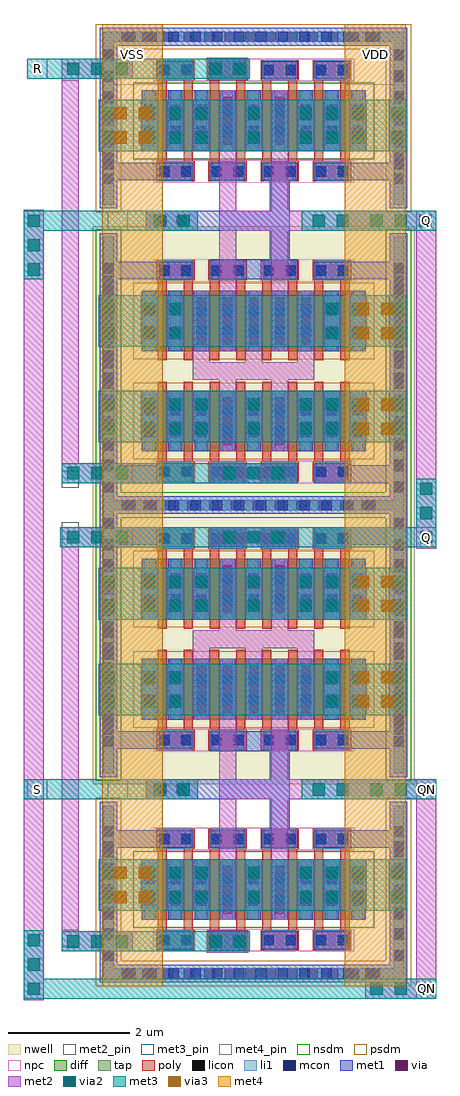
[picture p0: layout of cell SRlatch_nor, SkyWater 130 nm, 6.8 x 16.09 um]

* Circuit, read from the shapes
.subckt SRlatch_nor Q QN R S VDD VSS
XM1 VSS VSS VSS VSS sky130_fd_pr__nfet_01v8 w=1 l=0.15 m=8
XM2 QN Q VSS VSS sky130_fd_pr__nfet_01v8 w=1 l=0.15 m=2
XM3 Q R VSS VSS sky130_fd_pr__nfet_01v8 w=1 l=0.15 m=2
XM4 QN S VSS VSS sky130_fd_pr__nfet_01v8 w=1 l=0.15 m=2
XM5 Q QN VSS VSS sky130_fd_pr__nfet_01v8 w=1 l=0.15 m=2
XM6 VDD VDD VDD VDD sky130_fd_pr__pfet_01v8 w=1 l=0.15 m=12
XM7 n1 VDD VDD VDD sky130_fd_pr__pfet_01v8 w=1 l=0.15 m=2
XM8 n2 VDD VDD VDD sky130_fd_pr__pfet_01v8 w=1 l=0.15 m=2
XM9 QN S n1 VDD sky130_fd_pr__pfet_01v8 w=1 l=0.15 m=4
XM10 n1 Q VDD VDD sky130_fd_pr__pfet_01v8 w=1 l=0.15 m=4
XM11 n2 R VDD VDD sky130_fd_pr__pfet_01v8 w=1 l=0.15 m=4
XM12 Q QN n2 VDD sky130_fd_pr__pfet_01v8 w=1 l=0.15 m=4
.ends

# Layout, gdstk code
import gdstk
lib = gdstk.Library(unit=1e-6, precision=1e-09)
def R(c, l, rs):  # rectangles x0, y0, x1, y1
    for r in rs: c.add(gdstk.rectangle(r[:2], r[2:], *l))
def A(c, l, x, y, w, h, nx, ny, dx, dy):  # array of equal rectangles
    R(c, l, [(x+i*dx, y+j*dy, x+i*dx+w, y+j*dy+h) for i in range(nx) for j in range(ny)])
nwell = (64, 20)
diff = (65, 20)
tap = (65, 44)
poly = (66, 20)
licon = (66, 44)
li1 = (67, 20)
mcon = (67, 44)
met1 = (68, 20)
via = (68, 44)
met2_pin = (69, 16)
met2 = (69, 20)
via2 = (69, 44)
met3_pin = (70, 16)
met3 = (70, 20)
via3 = (70, 44)
met4_pin = (71, 16)
met4 = (71, 20)
nsdm = (93, 44)
psdm = (94, 20)
npc = (95, 20)

pfet_01v8_cdns_713557510 = lib.new_cell('pfet_01v8_CDNS_713557510321')
R(pfet_01v8_cdns_713557510, nwell, [(-0.235,-0.18,1.025,1.18)])
R(pfet_01v8_cdns_713557510, diff, [(-0.055,0,0,1), (0,0,0.15,1), (0.15,0,0.43,1), (0.43,0,0.58,1), (0.58,0,0.845,1)])
R(pfet_01v8_cdns_713557510, poly, [(0,-0.15,0.15,-0.095), (0.43,-0.15,0.58,-0.095), (0,-0.095,0.15,0), (0.43,-0.095,0.58,0), (0,0,0.15,1), (0.43,0,0.58,1), (0,1,0.15,1.095), (0.43,1,0.58,1.095), (0,1.095,0.15,1.15), (0.43,1.095,0.58,1.15)])
R(pfet_01v8_cdns_713557510, licon, [(0.205,0.245,0.375,0.415), (0.635,0.245,0.805,0.415), (0.205,0.585,0.375,0.755), (0.635,0.585,0.805,0.755)])
R(pfet_01v8_cdns_713557510, li1, [(0.205,0,0.375,1), (0.635,0,0.805,1)])
R(pfet_01v8_cdns_713557510, mcon, [(0.205,0.235,0.375,0.405), (0.635,0.235,0.805,0.405), (0.205,0.595,0.375,0.765), (0.635,0.595,0.805,0.765)])
R(pfet_01v8_cdns_713557510, met1, [(0.175,0,0.405,1), (0.605,0,0.835,1)])
R(pfet_01v8_cdns_713557510, psdm, [(-0.065,-0.13,0.985,1.13)])

c_pfet_01v8_cdns_713557510 = lib.new_cell('pfet_01v8_CDNS_713557510322')
R(c_pfet_01v8_cdns_713557510, nwell, [(-0.235,-0.18,0.595,1.18)])
R(c_pfet_01v8_cdns_713557510, diff, [(-0.055,0,0,1), (0,0,0.15,1), (0.15,0,0.415,1)])
R(c_pfet_01v8_cdns_713557510, poly, [(0,-0.15,0.15,-0.095), (0,-0.095,0.15,0), (0,0,0.15,1), (0,1,0.15,1.095), (0,1.095,0.15,1.15)])
R(c_pfet_01v8_cdns_713557510, licon, [(0.205,0.245,0.375,0.415), (0.205,0.585,0.375,0.755)])
R(c_pfet_01v8_cdns_713557510, li1, [(0.205,0,0.375,1)])
R(c_pfet_01v8_cdns_713557510, mcon, [(0.205,0.235,0.375,0.405), (0.205,0.595,0.375,0.765)])
R(c_pfet_01v8_cdns_713557510, met1, [(0.175,0,0.405,1)])
R(c_pfet_01v8_cdns_713557510, psdm, [(-0.065,-0.13,0.555,1.13)])

nfet_01v8_cdns_713557510 = lib.new_cell('nfet_01v8_CDNS_713557510323')
R(nfet_01v8_cdns_713557510, diff, [(-0.265,0,0,1), (0,0,0.15,1), (0.15,0,0.43,1), (0.43,0,0.58,1), (0.58,0,0.805,1)])
R(nfet_01v8_cdns_713557510, poly, [(0,-0.15,0.15,-0.095), (0.43,-0.15,0.58,-0.095), (0,-0.095,0.15,0), (0.43,-0.095,0.58,0), (0,0,0.15,1), (0.43,0,0.58,1), (0,1,0.15,1.095), (0.43,1,0.58,1.095), (0,1.095,0.15,1.15), (0.43,1.095,0.58,1.15)])
A(nfet_01v8_cdns_713557510, licon, -0.225, 0.245, 0.17, 0.17, 3, 2, 0.43, 0.34)
A(nfet_01v8_cdns_713557510, li1, -0.225, 0, 0.17, 1, 3, 1, 0.43, 0)
A(nfet_01v8_cdns_713557510, mcon, -0.225, 0.235, 0.17, 0.17, 3, 2, 0.43, 0.36)
A(nfet_01v8_cdns_713557510, met1, -0.255, 0, 0.23, 1, 3, 1, 0.43, 0)
R(nfet_01v8_cdns_713557510, nsdm, [(-0.405,-0.13,0.815,1.13)])

c_pfet_01v8_cdns_713557510_ = lib.new_cell('pfet_01v8_CDNS_713557510324')
R(c_pfet_01v8_cdns_713557510_, nwell, [(-0.405,-0.18,1.845,1.18)])
A(c_pfet_01v8_cdns_713557510_, diff, 0, 0, 0.15, 1, 4, 1, 0.43, 0)
A(c_pfet_01v8_cdns_713557510_, diff, 0.15, 0, 0.28, 1, 3, 1, 0.43, 0)
R(c_pfet_01v8_cdns_713557510_, diff, [(-0.225,0,0,1), (1.44,0,1.665,1)])
A(c_pfet_01v8_cdns_713557510_, poly, 0, -0.15, 0.15, 0.055, 4, 2, 0.43, 1.245)
A(c_pfet_01v8_cdns_713557510_, poly, 0, -0.095, 0.15, 0.095, 4, 2, 0.43, 1.095)
A(c_pfet_01v8_cdns_713557510_, poly, 0, 0, 0.15, 1, 4, 1, 0.43, 0)
A(c_pfet_01v8_cdns_713557510_, licon, -0.225, 0.245, 0.17, 0.17, 5, 2, 0.43, 0.34)
A(c_pfet_01v8_cdns_713557510_, li1, -0.225, 0, 0.17, 1, 5, 1, 0.43, 0)
A(c_pfet_01v8_cdns_713557510_, mcon, -0.225, 0.235, 0.17, 0.17, 5, 2, 0.43, 0.36)
A(c_pfet_01v8_cdns_713557510_, met1, -0.255, 0, 0.23, 1, 5, 1, 0.43, 0)
R(c_pfet_01v8_cdns_713557510_, psdm, [(-0.235,-0.13,1.675,1.13)])

c_pfet_01v8_cdns_713557510__ = lib.new_cell('pfet_01v8_CDNS_713557510325')
R(c_pfet_01v8_cdns_713557510__, nwell, [(-0.445,-0.18,0.385,1.18)])
R(c_pfet_01v8_cdns_713557510__, diff, [(-0.265,0,0,1), (0,0,0.15,1), (0.15,0,0.205,1)])
R(c_pfet_01v8_cdns_713557510__, poly, [(0,-0.15,0.15,-0.095), (0,-0.095,0.15,0), (0,0,0.15,1), (0,1,0.15,1.095), (0,1.095,0.15,1.15)])
R(c_pfet_01v8_cdns_713557510__, licon, [(-0.225,0.245,-0.055,0.415), (-0.225,0.585,-0.055,0.755)])
R(c_pfet_01v8_cdns_713557510__, li1, [(-0.225,0,-0.055,1)])
R(c_pfet_01v8_cdns_713557510__, mcon, [(-0.225,0.235,-0.055,0.405), (-0.225,0.595,-0.055,0.765)])
R(c_pfet_01v8_cdns_713557510__, met1, [(-0.255,0,-0.025,1)])
R(c_pfet_01v8_cdns_713557510__, psdm, [(-0.405,-0.13,0.215,1.13)])

c_pfet_01v8_cdns_713557510___ = lib.new_cell('pfet_01v8_CDNS_713557510326')
R(c_pfet_01v8_cdns_713557510___, nwell, [(-0.445,-0.18,0.815,1.18)])
R(c_pfet_01v8_cdns_713557510___, diff, [(-0.265,0,0,1), (0,0,0.15,1), (0.15,0,0.43,1), (0.43,0,0.58,1), (0.58,0,0.635,1)])
R(c_pfet_01v8_cdns_713557510___, poly, [(0,-0.15,0.15,-0.095), (0.43,-0.15,0.58,-0.095), (0,-0.095,0.15,0), (0.43,-0.095,0.58,0), (0,0,0.15,1), (0.43,0,0.58,1), (0,1,0.15,1.095), (0.43,1,0.58,1.095), (0,1.095,0.15,1.15), (0.43,1.095,0.58,1.15)])
R(c_pfet_01v8_cdns_713557510___, licon, [(-0.225,0.245,-0.055,0.415), (0.205,0.245,0.375,0.415), (-0.225,0.585,-0.055,0.755), (0.205,0.585,0.375,0.755)])
R(c_pfet_01v8_cdns_713557510___, li1, [(-0.225,0,-0.055,1), (0.205,0,0.375,1)])
R(c_pfet_01v8_cdns_713557510___, mcon, [(-0.225,0.235,-0.055,0.405), (0.205,0.235,0.375,0.405), (-0.225,0.595,-0.055,0.765), (0.205,0.595,0.375,0.765)])
R(c_pfet_01v8_cdns_713557510___, met1, [(-0.255,0,-0.025,1), (0.175,0,0.405,1)])
R(c_pfet_01v8_cdns_713557510___, psdm, [(-0.405,-0.13,0.645,1.13)])

c_pfet_01v8_cdns_713557510____ = lib.new_cell('pfet_01v8_CDNS_713557510327')
R(c_pfet_01v8_cdns_713557510____, nwell, [(-0.405,-0.18,0.385,1.18)])
R(c_pfet_01v8_cdns_713557510____, diff, [(-0.225,0,0,1), (0,0,0.15,1), (0.15,0,0.205,1)])
R(c_pfet_01v8_cdns_713557510____, poly, [(0,-0.15,0.15,-0.095), (0,-0.095,0.15,0), (0,0,0.15,1), (0,1,0.15,1.095), (0,1.095,0.15,1.15)])
R(c_pfet_01v8_cdns_713557510____, licon, [(-0.225,0.245,-0.055,0.415), (-0.225,0.585,-0.055,0.755)])
R(c_pfet_01v8_cdns_713557510____, li1, [(-0.225,0,-0.055,1)])
R(c_pfet_01v8_cdns_713557510____, mcon, [(-0.225,0.235,-0.055,0.405), (-0.225,0.595,-0.055,0.765)])
R(c_pfet_01v8_cdns_713557510____, met1, [(-0.255,0,-0.025,1)])
R(c_pfet_01v8_cdns_713557510____, psdm, [(-0.235,-0.13,0.215,1.13)])

c_nfet_01v8_cdns_713557510 = lib.new_cell('nfet_01v8_CDNS_713557510328')
R(c_nfet_01v8_cdns_713557510, diff, [(-0.225,0,0,1), (0,0,0.15,1), (0.15,0,0.43,1), (0.43,0,0.58,1), (0.58,0,0.805,1)])
R(c_nfet_01v8_cdns_713557510, poly, [(0,-0.15,0.15,-0.095), (0.43,-0.15,0.58,-0.095), (0,-0.095,0.15,0), (0.43,-0.095,0.58,0), (0,0,0.15,1), (0.43,0,0.58,1), (0,1,0.15,1.095), (0.43,1,0.58,1.095), (0,1.095,0.15,1.15), (0.43,1.095,0.58,1.15)])
A(c_nfet_01v8_cdns_713557510, licon, -0.225, 0.245, 0.17, 0.17, 3, 2, 0.43, 0.34)
A(c_nfet_01v8_cdns_713557510, li1, -0.225, 0, 0.17, 1, 3, 1, 0.43, 0)
A(c_nfet_01v8_cdns_713557510, mcon, -0.225, 0.235, 0.17, 0.17, 3, 2, 0.43, 0.36)
A(c_nfet_01v8_cdns_713557510, met1, -0.255, 0, 0.23, 1, 3, 1, 0.43, 0)
R(c_nfet_01v8_cdns_713557510, nsdm, [(-0.235,-0.13,0.815,1.13)])

c_pfet_01v8_cdns_713557510_____ = lib.new_cell('pfet_01v8_CDNS_713557510329')
R(c_pfet_01v8_cdns_713557510_____, nwell, [(-0.235,-0.18,0.555,1.18)])
R(c_pfet_01v8_cdns_713557510_____, diff, [(-0.055,0,0,1), (0,0,0.15,1), (0.15,0,0.375,1)])
R(c_pfet_01v8_cdns_713557510_____, poly, [(0,-0.15,0.15,-0.095), (0,-0.095,0.15,0), (0,0,0.15,1), (0,1,0.15,1.095), (0,1.095,0.15,1.15)])
R(c_pfet_01v8_cdns_713557510_____, licon, [(0.205,0.245,0.375,0.415), (0.205,0.585,0.375,0.755)])
R(c_pfet_01v8_cdns_713557510_____, li1, [(0.205,0,0.375,1)])
R(c_pfet_01v8_cdns_713557510_____, mcon, [(0.205,0.235,0.375,0.405), (0.205,0.595,0.375,0.765)])
R(c_pfet_01v8_cdns_713557510_____, met1, [(0.175,0,0.405,1)])
R(c_pfet_01v8_cdns_713557510_____, psdm, [(-0.065,-0.13,0.385,1.13)])

c_nfet_01v8_cdns_713557510_ = lib.new_cell('nfet_01v8_CDNS_7135575103210')
R(c_nfet_01v8_cdns_713557510_, diff, [(-0.055,0,0,1), (0,0,0.15,1), (0.15,0,0.43,1), (0.43,0,0.58,1), (0.58,0,0.845,1)])
R(c_nfet_01v8_cdns_713557510_, poly, [(0,-0.15,0.15,-0.095), (0.43,-0.15,0.58,-0.095), (0,-0.095,0.15,0), (0.43,-0.095,0.58,0), (0,0,0.15,1), (0.43,0,0.58,1), (0,1,0.15,1.095), (0.43,1,0.58,1.095), (0,1.095,0.15,1.15), (0.43,1.095,0.58,1.15)])
R(c_nfet_01v8_cdns_713557510_, licon, [(0.205,0.245,0.375,0.415), (0.635,0.245,0.805,0.415), (0.205,0.585,0.375,0.755), (0.635,0.585,0.805,0.755)])
R(c_nfet_01v8_cdns_713557510_, li1, [(0.205,0,0.375,1), (0.635,0,0.805,1)])
R(c_nfet_01v8_cdns_713557510_, mcon, [(0.205,0.235,0.375,0.405), (0.635,0.235,0.805,0.405), (0.205,0.595,0.375,0.765), (0.635,0.595,0.805,0.765)])
R(c_nfet_01v8_cdns_713557510_, met1, [(0.175,0,0.405,1), (0.605,0,0.835,1)])
R(c_nfet_01v8_cdns_713557510_, nsdm, [(-0.065,-0.13,0.985,1.13)])

c_nfet_01v8_cdns_713557510__ = lib.new_cell('nfet_01v8_CDNS_7135575103211')
R(c_nfet_01v8_cdns_713557510__, diff, [(-0.055,0,0,1), (0,0,0.15,1), (0.15,0,0.43,1), (0.43,0,0.58,1), (0.58,0,0.635,1)])
R(c_nfet_01v8_cdns_713557510__, poly, [(0,-0.15,0.15,-0.095), (0.43,-0.15,0.58,-0.095), (0,-0.095,0.15,0), (0.43,-0.095,0.58,0), (0,0,0.15,1), (0.43,0,0.58,1), (0,1,0.15,1.095), (0.43,1,0.58,1.095), (0,1.095,0.15,1.15), (0.43,1.095,0.58,1.15)])
R(c_nfet_01v8_cdns_713557510__, licon, [(0.205,0.245,0.375,0.415), (0.205,0.585,0.375,0.755)])
R(c_nfet_01v8_cdns_713557510__, li1, [(0.205,0,0.375,1)])
R(c_nfet_01v8_cdns_713557510__, mcon, [(0.205,0.235,0.375,0.405), (0.205,0.595,0.375,0.765)])
R(c_nfet_01v8_cdns_713557510__, met1, [(0.175,0,0.405,1)])
R(c_nfet_01v8_cdns_713557510__, nsdm, [(-0.065,-0.13,0.645,1.13)])

polyconn_cdns_7135575103 = lib.new_cell('polyConn_CDNS_713557510320')
R(polyconn_cdns_7135575103, poly, [(-0.315,-0.165,0.315,0.165)])
R(polyconn_cdns_7135575103, licon, [(-0.265,-0.085,-0.095,0.085), (0.095,-0.085,0.265,0.085)])
R(polyconn_cdns_7135575103, li1, [(-0.265,-0.165,0.265,0.165)])
R(polyconn_cdns_7135575103, mcon, [(-0.265,-0.085,-0.095,0.085), (0.095,-0.085,0.265,0.085)])
R(polyconn_cdns_7135575103, met1, [(-0.295,-0.145,0.295,0.145)])
R(polyconn_cdns_7135575103, npc, [(-0.365,-0.185,0.365,0.185)])

m1m2_c_cdns_713557510324 = lib.new_cell('M1M2_C_CDNS_7135575103244')
R(m1m2_c_cdns_713557510324, met1, [(-0.13,-0.5,0.13,0.5)])
A(m1m2_c_cdns_713557510324, via, -0.075, -0.395, 0.15, 0.15, 1, 3, 0, 0.32)
R(m1m2_c_cdns_713557510324, met2, [(-0.13,-0.5,0.13,0.5)])

m2m3_c_cdns_713557510324 = lib.new_cell('M2M3_C_CDNS_7135575103245')
R(m2m3_c_cdns_713557510324, met2, [(-0.48,-0.165,0.48,0.165)])
R(m2m3_c_cdns_713557510324, via2, [(-0.3,-0.1,-0.1,0.1), (0.1,-0.1,0.3,0.1)])
R(m2m3_c_cdns_713557510324, met3, [(-0.48,-0.165,0.48,0.165)])

c_m1m2_c_cdns_713557510324 = lib.new_cell('M1M2_C_CDNS_7135575103246')
R(c_m1m2_c_cdns_713557510324, met1, [(-0.725,-0.165,0.725,0.165)])
A(c_m1m2_c_cdns_713557510324, via, -0.555, -0.075, 0.15, 0.15, 4, 1, 0.32, 0)
R(c_m1m2_c_cdns_713557510324, met2, [(-0.725,-0.165,0.725,0.165)])

c_m2m3_c_cdns_713557510324 = lib.new_cell('M2M3_C_CDNS_7135575103247')
R(c_m2m3_c_cdns_713557510324, met2, [(-0.725,-0.165,0.725,0.165)])
A(c_m2m3_c_cdns_713557510324, via2, -0.5, -0.1, 0.2, 0.2, 3, 1, 0.4, 0)
R(c_m2m3_c_cdns_713557510324, met3, [(-0.725,-0.165,0.725,0.165)])

c_m1m2_c_cdns_713557510324_ = lib.new_cell('M1M2_C_CDNS_7135575103248')
R(c_m1m2_c_cdns_713557510324_, met1, [(-0.295,-0.165,0.295,0.165)])
R(c_m1m2_c_cdns_713557510324_, via, [(-0.235,-0.075,-0.085,0.075), (0.085,-0.075,0.235,0.075)])
R(c_m1m2_c_cdns_713557510324_, met2, [(-0.34,-0.185,0.34,0.185)])

c_m2m3_c_cdns_713557510324_ = lib.new_cell('M2M3_C_CDNS_7135575103249')
R(c_m2m3_c_cdns_713557510324_, met2, [(-0.34,-0.185,0.34,0.185)])
R(c_m2m3_c_cdns_713557510324_, via2, [(-0.3,-0.1,-0.1,0.1), (0.1,-0.1,0.3,0.1)])
R(c_m2m3_c_cdns_713557510324_, met3, [(-0.365,-0.165,0.365,0.165)])

m1m2_c_cdns_713557510325 = lib.new_cell('M1M2_C_CDNS_7135575103250')
R(m1m2_c_cdns_713557510325, met1, [(-0.43,-0.165,0.43,0.165)])
R(m1m2_c_cdns_713557510325, via, [(-0.235,-0.075,-0.085,0.075), (0.085,-0.075,0.235,0.075)])
R(m1m2_c_cdns_713557510325, met2, [(-0.43,-0.165,0.43,0.165)])

m2m3_c_cdns_713557510325 = lib.new_cell('M2M3_C_CDNS_713557510325')
R(m2m3_c_cdns_713557510325, met2, [(-0.43,-0.165,0.43,0.165)])
R(m2m3_c_cdns_713557510325, via2, [(-0.3,-0.1,-0.1,0.1), (0.1,-0.1,0.3,0.1)])
R(m2m3_c_cdns_713557510325, met3, [(-0.43,-0.165,0.43,0.165)])

c_m2m3_c_cdns_713557510325 = lib.new_cell('M2M3_C_CDNS_7135575103251')
R(c_m2m3_c_cdns_713557510325, met2, [(-0.14,-0.165,1.03,0.165)])
A(c_m2m3_c_cdns_713557510325, via2, -0.055, -0.1, 0.2, 0.2, 3, 1, 0.4, 0)
R(c_m2m3_c_cdns_713557510325, met3, [(-0.14,-0.165,1.01,0.165)])

c_m1m2_c_cdns_713557510325 = lib.new_cell('M1M2_C_CDNS_7135575103252')
R(c_m1m2_c_cdns_713557510325, met1, [(-0.13,-0.425,0.13,0.425)])
R(c_m1m2_c_cdns_713557510325, via, [(-0.075,-0.235,0.075,-0.085), (-0.075,0.085,0.075,0.235)])
R(c_m1m2_c_cdns_713557510325, met2, [(-0.14,-0.425,0.14,0.425)])

c_m2m3_c_cdns_713557510325_ = lib.new_cell('M2M3_C_CDNS_7135575103253')
R(c_m2m3_c_cdns_713557510325_, met2, [(-0.155,-0.425,0.145,0.425)])
R(c_m2m3_c_cdns_713557510325_, via2, [(-0.12,-0.3,0.08,-0.1), (-0.12,0.1,0.08,0.3)])
R(c_m2m3_c_cdns_713557510325_, met3, [(-0.185,-0.425,0.145,0.425)])

c_m2m3_c_cdns_713557510325__ = lib.new_cell('M2M3_C_CDNS_7135575103254')
R(c_m2m3_c_cdns_713557510325__, met2, [(-0.145,-0.425,0.145,0.425)])
R(c_m2m3_c_cdns_713557510325__, via2, [(-0.1,-0.3,0.1,-0.1), (-0.1,0.1,0.1,0.3)])
R(c_m2m3_c_cdns_713557510325__, met3, [(-0.165,-0.425,0.165,0.425)])

c_m1m2_c_cdns_713557510325_ = lib.new_cell('M1M2_C_CDNS_7135575103255')
R(c_m1m2_c_cdns_713557510325_, met1, [(-0.145,-0.425,0.145,0.425)])
R(c_m1m2_c_cdns_713557510325_, via, [(-0.095,-0.235,0.055,-0.085), (-0.095,0.085,0.055,0.235)])
R(c_m1m2_c_cdns_713557510325_, met2, [(-0.16,-0.425,0.14,0.425)])

c_m1m2_c_cdns_713557510325__ = lib.new_cell('M1M2_C_CDNS_7135575103256')
R(c_m1m2_c_cdns_713557510325__, met1, [(-0.145,-0.425,0.145,0.425)])
R(c_m1m2_c_cdns_713557510325__, via, [(-0.075,-0.235,0.075,-0.085), (-0.075,0.085,0.075,0.235)])
R(c_m1m2_c_cdns_713557510325__, met2, [(-0.145,-0.425,0.145,0.425)])

c_m2m3_c_cdns_713557510325___ = lib.new_cell('M2M3_C_CDNS_7135575103257')
R(c_m2m3_c_cdns_713557510325___, met2, [(-0.14,-0.425,0.14,0.425)])
R(c_m2m3_c_cdns_713557510325___, via2, [(-0.1,-0.3,0.1,-0.1), (-0.1,0.1,0.1,0.3)])
R(c_m2m3_c_cdns_713557510325___, met3, [(-0.165,-0.425,0.165,0.425)])

nor = lib.new_cell('nor')
R(nor, nwell, [(0.505,3.33,5.815,8.195)])
A(nor, poly, 1.58, 0.595, 0.15, 0.5, 8, 2, 0.43, 1.5)
A(nor, poly, 1.58, 3.895, 0.15, 0.5, 8, 2, 0.43, 3.15)
A(nor, licon, 0.985, 0.125, 0.17, 0.17, 13, 1, 0.34, 0)
A(nor, licon, 0.685, 0.425, 0.17, 0.17, 1, 7, 0, 0.34)
A(nor, licon, 5.465, 0.425, 0.17, 0.17, 1, 7, 0, 0.34)
A(nor, licon, 0.685, 4.145, 0.17, 0.17, 1, 11, 0, 0.34)
A(nor, licon, 5.465, 4.145, 0.17, 0.17, 1, 11, 0, 0.34)
A(nor, licon, 0.985, 7.845, 0.17, 0.17, 12, 1, 0.36, 0)
A(nor, mcon, 1.035, 0.125, 0.17, 0.17, 12, 2, 0.36, 7.72)
A(nor, mcon, 0.685, 0.425, 0.17, 0.17, 1, 6, 0, 0.36)
A(nor, mcon, 5.465, 0.425, 0.17, 0.17, 1, 6, 0, 0.36)
A(nor, mcon, 0.685, 3.945, 0.17, 0.17, 1, 11, 0, 0.36)
A(nor, mcon, 5.465, 3.945, 0.17, 0.17, 1, 11, 0, 0.36)
R(nor, met1, [(5.4,1.245,5.695,2.095), (0.77,2.285,2.165,2.575), (4.155,2.285,5.55,2.575), (0.77,3.915,2.165,4.205), (4.155,3.915,5.55,4.205), (5.4,4.47,5.695,5.32), (5.4,6.045,5.695,6.895), (0.77,7.275,2.165,7.565), (4.155,7.275,5.55,7.565)])
R(nor, met2_pin, [(0,0.655,0.28,0.935), (0,7.365,0.28,7.645)])
R(nor, met2, [(5.39,1.245,5.695,2.095), (5.39,4.47,5.695,5.32), (5.39,6.045,5.695,6.895)])
R(nor, met3_pin, [(0.605,1.245,1.455,2.095), (0.755,3.08,1.085,3.41), (5.22,3.08,5.55,3.41), (0.605,6.045,1.455,6.895)])
R(nor, npc, [(1.505,0.575,4.815,0.945), (1.505,2.245,4.815,2.615), (1.505,3.875,4.815,4.245), (1.505,7.195,4.815,7.565)])
nor.add(gdstk.FlexPath([(5.55,8.14),(5.55,3.385)], 0.42, ends="flush", simple_path=True, layer=93, datatype=44))  # nsdm
nor.add(gdstk.FlexPath([(0.77,8.14),(0.77,3.385)], 0.42, ends="flush", simple_path=True, layer=93, datatype=44))  # nsdm
nor.add(gdstk.FlexPath([(0.56,7.93),(5.76,7.93)], 0.42, ends="flush", simple_path=True, layer=93, datatype=44))  # nsdm
nor.add(gdstk.FlexPath([(5.55,8.195),(5.55,3.33)], 0.53, ends="flush", simple_path=True, layer=64, datatype=20))  # nwell
nor.add(gdstk.FlexPath([(0.77,8.195),(0.77,3.33)], 0.53, ends="flush", simple_path=True, layer=64, datatype=20))  # nwell
nor.add(gdstk.FlexPath([(0.505,7.93),(5.815,7.93)], 0.53, ends="flush", simple_path=True, layer=64, datatype=20))  # nwell
nor.add(gdstk.FlexPath([(5.55,0),(5.55,3.105)], 0.42, ends="flush", simple_path=True, layer=94, datatype=20))  # psdm
nor.add(gdstk.FlexPath([(0.56,0.21),(5.76,0.21)], 0.42, ends="flush", simple_path=True, layer=94, datatype=20))  # psdm
nor.add(gdstk.FlexPath([(0.77,0),(0.77,3.105)], 0.42, ends="flush", simple_path=True, layer=94, datatype=20))  # psdm
nor.add(gdstk.FlexPath([(5.55,0.125),(5.55,2.98)], 0.17, ends="flush", simple_path=True, layer=67, datatype=20))  # li1
nor.add(gdstk.FlexPath([(0.77,0.125),(0.77,2.98)], 0.17, ends="flush", simple_path=True, layer=67, datatype=20))  # li1
nor.add(gdstk.FlexPath([(5.55,8.015),(5.55,3.51)], 0.17, ends="flush", simple_path=True, layer=67, datatype=20))  # li1
nor.add(gdstk.FlexPath([(0.77,8.015),(0.77,3.51)], 0.17, ends="flush", simple_path=True, layer=67, datatype=20))  # li1
nor.add(gdstk.FlexPath([(0.685,0.21),(5.635,0.21)], 0.17, ends="flush", simple_path=True, layer=67, datatype=20))  # li1
nor.add(gdstk.FlexPath([(0.685,7.93),(5.635,7.93)], 0.17, ends="flush", simple_path=True, layer=67, datatype=20))  # li1
nor.add(gdstk.FlexPath([(5.55,8.015),(5.55,3.51)], 0.17, ends="flush", simple_path=True, layer=65, datatype=44))  # tap
nor.add(gdstk.FlexPath([(0.77,8.015),(0.77,3.51)], 0.17, ends="flush", simple_path=True, layer=65, datatype=44))  # tap
nor.add(gdstk.FlexPath([(0.685,7.93),(5.635,7.93)], 0.17, ends="flush", simple_path=True, layer=65, datatype=44))  # tap
nor.add(gdstk.FlexPath([(5.55,0.125),(5.55,2.98)], 0.17, ends="flush", simple_path=True, layer=65, datatype=44))  # tap
nor.add(gdstk.FlexPath([(0.685,0.21),(5.635,0.21)], 0.17, ends="flush", simple_path=True, layer=65, datatype=44))  # tap
nor.add(gdstk.FlexPath([(0.77,0.125),(0.77,2.98)], 0.17, ends="flush", simple_path=True, layer=65, datatype=44))  # tap
nor.add(gdstk.FlexPath([(3.885,7.4),(2.435,7.4)], 0.33, ends="flush", simple_path=True, layer=68, datatype=20))  # met1
nor.add(gdstk.FlexPath([(3.025,0.74),(2.435,0.74)], 0.33, ends="flush", simple_path=True, layer=68, datatype=20))  # met1
nor.add(gdstk.FlexPath([(5.55,0.065),(5.55,3.04)], 0.29, ends="flush", simple_path=True, layer=68, datatype=20))  # met1
nor.add(gdstk.FlexPath([(0.625,0.21),(5.695,0.21)], 0.29, ends="flush", simple_path=True, layer=68, datatype=20))  # met1
nor.add(gdstk.FlexPath([(0.77,0.065),(0.77,3.04)], 0.29, ends="flush", simple_path=True, layer=68, datatype=20))  # met1
nor.add(gdstk.FlexPath([(3.885,4.04),(2.435,4.04)], 0.33, ends="flush", simple_path=True, layer=68, datatype=20))  # met1
nor.add(gdstk.FlexPath([(3.59,4.205),(3.59,2.285)], 0.33, ends="flush", simple_path=True, layer=68, datatype=20))  # met1
nor.add(gdstk.FlexPath([(3.59,3.245),(1.38,3.245)], 0.33, ends="flush", simple_path=True, layer=68, datatype=20))  # met1
nor.add(gdstk.FlexPath([(0.625,7.93),(5.695,7.93)], 0.29, ends="flush", simple_path=True, layer=68, datatype=20))  # met1
nor.add(gdstk.FlexPath([(0.77,8.075),(0.77,3.45)], 0.29, ends="flush", simple_path=True, layer=68, datatype=20))  # met1
nor.add(gdstk.FlexPath([(5.55,8.075),(5.55,3.45)], 0.29, ends="flush", simple_path=True, layer=68, datatype=20))  # met1
nor.add(gdstk.FlexPath([(2.59,3.245),(4.915,3.245)], 0.33, ends="flush", simple_path=True, layer=69, datatype=20))  # met2
nor.add(gdstk.FlexPath([(3.59,5.395),(3.59,1.095)], 0.28, ends="flush", simple_path=True, layer=69, datatype=20))  # met2
nor.add(gdstk.FlexPath([(2.73,5.395),(2.73,1.095)], 0.28, ends="flush", simple_path=True, layer=69, datatype=20))  # met2
nor.add(gdstk.FlexPath([(4.02,4.395),(4.02,5.72)], 0.28, ends="flush", simple_path=True, layer=69, datatype=20))  # met2
nor.add(gdstk.FlexPath([(3.16,4.395),(3.16,5.72)], 0.28, ends="flush", simple_path=True, layer=69, datatype=20))  # met2
nor.add(gdstk.FlexPath([(3.59,7.045),(3.59,5.72)], 0.28, ends="flush", simple_path=True, layer=69, datatype=20))  # met2
nor.add(gdstk.FlexPath([(2.3,4.395),(2.3,5.72)], 0.28, ends="flush", simple_path=True, layer=69, datatype=20))  # met2
nor.add(gdstk.FlexPath([(2.16,5.72),(4.16,5.72)], 0.29, ends="flush", simple_path=True, layer=69, datatype=20))  # met2
nor.add(gdstk.FlexPath([(2.73,7.045),(2.73,5.72)], 0.28, ends="flush", simple_path=True, layer=69, datatype=20))  # met2
nor.add(gdstk.FlexPath([(0.14,7.565),(0.14,0.575)], 0.28, ends="flush", simple_path=True, layer=69, datatype=20))  # met2
nor.add(gdstk.FlexPath([(3.95,3.245),(5.55,3.245)], 0.33, ends="flush", simple_path=True, layer=70, datatype=20))  # met3
nor.add(gdstk.FlexPath([(3.885,7.4),(0,7.4)], 0.33, ends="flush", simple_path=True, layer=70, datatype=20))  # met3
nor.add(gdstk.FlexPath([(0.605,6.47),(5.695,6.47)], 0.85, ends="flush", simple_path=True, layer=70, datatype=20))  # met3
nor.add(gdstk.FlexPath([(3.095,0.74),(0,0.74)], 0.33, ends="flush", simple_path=True, layer=70, datatype=20))  # met3
nor.add(gdstk.FlexPath([(2.24,3.245),(0.755,3.245)], 0.33, ends="flush", simple_path=True, layer=70, datatype=20))  # met3
nor.add(gdstk.FlexPath([(0.605,4.895),(5.695,4.895)], 0.85, ends="flush", simple_path=True, layer=70, datatype=20))  # met3
nor.add(gdstk.FlexPath([(0.605,1.67),(5.695,1.67)], 0.85, ends="flush", simple_path=True, layer=70, datatype=20))  # met3
nor.add(gdstk.Reference(pfet_01v8_cdns_713557510, (4.16,6.045)))
nor.add(gdstk.Reference(c_pfet_01v8_cdns_713557510, (4.59,4.395)))
nor.add(gdstk.Reference(nfet_01v8_cdns_713557510, (1.58,1.095)))
nor.add(gdstk.Reference(c_pfet_01v8_cdns_713557510_, (2.44,6.045)))
nor.add(gdstk.Reference(c_pfet_01v8_cdns_713557510_, (2.44,4.395)))
nor.add(gdstk.Reference(c_pfet_01v8_cdns_713557510__, (1.58,4.395)))
nor.add(gdstk.Reference(c_pfet_01v8_cdns_713557510___, (1.58,6.045)))
nor.add(gdstk.Reference(c_pfet_01v8_cdns_713557510____, (2.01,4.395)))
nor.add(gdstk.Reference(c_nfet_01v8_cdns_713557510, (3.3,1.095)))
nor.add(gdstk.Reference(c_pfet_01v8_cdns_713557510_____, (4.16,4.395)))
nor.add(gdstk.Reference(c_nfet_01v8_cdns_713557510_, (4.16,1.095)))
nor.add(gdstk.Reference(c_nfet_01v8_cdns_713557510__, (2.44,1.095)))
nor.add(gdstk.Reference(polyconn_cdns_7135575103, (4.45,0.76)))
nor.add(gdstk.Reference(polyconn_cdns_7135575103, (3.59,0.76)))
nor.add(gdstk.Reference(polyconn_cdns_7135575103, (2.73,0.76)))
nor.add(gdstk.Reference(polyconn_cdns_7135575103, (1.87,0.76)))
nor.add(gdstk.Reference(polyconn_cdns_7135575103, (4.45,2.43), x_reflection=True))
nor.add(gdstk.Reference(polyconn_cdns_7135575103, (3.59,2.43), x_reflection=True))
nor.add(gdstk.Reference(polyconn_cdns_7135575103, (2.73,2.43), x_reflection=True))
nor.add(gdstk.Reference(polyconn_cdns_7135575103, (1.87,2.43), x_reflection=True))
nor.add(gdstk.Reference(polyconn_cdns_7135575103, (4.45,4.06)))
nor.add(gdstk.Reference(polyconn_cdns_7135575103, (3.59,4.06)))
nor.add(gdstk.Reference(polyconn_cdns_7135575103, (2.73,4.06)))
nor.add(gdstk.Reference(polyconn_cdns_7135575103, (1.87,4.06)))
nor.add(gdstk.Reference(polyconn_cdns_7135575103, (4.45,7.38), x_reflection=True))
nor.add(gdstk.Reference(polyconn_cdns_7135575103, (3.59,7.38), x_reflection=True))
nor.add(gdstk.Reference(polyconn_cdns_7135575103, (2.73,7.38), x_reflection=True))
nor.add(gdstk.Reference(polyconn_cdns_7135575103, (1.87,7.38), x_reflection=True))
nor.add(gdstk.Reference(m1m2_c_cdns_713557510324, (3.59,4.895)))
nor.add(gdstk.Reference(m1m2_c_cdns_713557510324, (3.59,1.595)))
nor.add(gdstk.Reference(m1m2_c_cdns_713557510324, (2.73,1.595)))
nor.add(gdstk.Reference(m1m2_c_cdns_713557510324, (2.73,4.895)))
nor.add(gdstk.Reference(m1m2_c_cdns_713557510324, (4.02,4.895)))
nor.add(gdstk.Reference(m1m2_c_cdns_713557510324, (3.16,4.895)))
nor.add(gdstk.Reference(m1m2_c_cdns_713557510324, (2.3,4.895)))
nor.add(gdstk.Reference(m1m2_c_cdns_713557510324, (3.59,6.545)))
nor.add(gdstk.Reference(m1m2_c_cdns_713557510324, (2.73,6.545)))
nor.add(gdstk.Reference(m2m3_c_cdns_713557510324, (4.43,3.245)))
nor.add(gdstk.Reference(c_m1m2_c_cdns_713557510324, (3.16,7.4)))
nor.add(gdstk.Reference(c_m2m3_c_cdns_713557510324, (3.16,7.4)))
nor.add(gdstk.Reference(c_m1m2_c_cdns_713557510324_, (2.73,0.74)))
nor.add(gdstk.Reference(c_m2m3_c_cdns_713557510324_, (2.73,0.74)))
nor.add(gdstk.Reference(m1m2_c_cdns_713557510325, (1.81,3.245)))
nor.add(gdstk.Reference(m2m3_c_cdns_713557510325, (1.81,3.245)))
nor.add(gdstk.Reference(c_m2m3_c_cdns_713557510325, (0.14,0.74)))
nor.add(gdstk.Reference(c_m2m3_c_cdns_713557510325, (0.14,7.4)))
nor.add(gdstk.Reference(c_m1m2_c_cdns_713557510325, (1.44,6.47)))
nor.add(gdstk.Reference(c_m1m2_c_cdns_713557510325, (1.87,6.47)))
nor.add(gdstk.Reference(c_m1m2_c_cdns_713557510325, (1.44,4.895)))
nor.add(gdstk.Reference(c_m1m2_c_cdns_713557510325, (2.3,6.47)))
nor.add(gdstk.Reference(c_m1m2_c_cdns_713557510325, (1.87,4.895)))
nor.add(gdstk.Reference(c_m1m2_c_cdns_713557510325, (3.16,6.47)))
nor.add(gdstk.Reference(c_m1m2_c_cdns_713557510325, (4.45,4.895)))
nor.add(gdstk.Reference(c_m1m2_c_cdns_713557510325, (4.02,6.47)))
nor.add(gdstk.Reference(c_m1m2_c_cdns_713557510325, (4.88,4.895)))
nor.add(gdstk.Reference(c_m1m2_c_cdns_713557510325, (4.45,6.47)))
nor.add(gdstk.Reference(c_m1m2_c_cdns_713557510325, (4.88,6.47)))
nor.add(gdstk.Reference(c_m1m2_c_cdns_713557510325, (4.02,1.67)))
nor.add(gdstk.Reference(c_m1m2_c_cdns_713557510325, (1.44,1.67)))
nor.add(gdstk.Reference(c_m1m2_c_cdns_713557510325, (4.45,1.67)))
nor.add(gdstk.Reference(c_m1m2_c_cdns_713557510325, (1.87,1.67)))
nor.add(gdstk.Reference(c_m1m2_c_cdns_713557510325, (4.88,1.67)))
nor.add(gdstk.Reference(c_m1m2_c_cdns_713557510325, (2.3,1.67)))
nor.add(gdstk.Reference(c_m1m2_c_cdns_713557510325, (3.16,1.67)))
nor.add(gdstk.Reference(c_m2m3_c_cdns_713557510325_, (5.55,6.47)))
nor.add(gdstk.Reference(c_m2m3_c_cdns_713557510325_, (5.55,4.895)))
nor.add(gdstk.Reference(c_m2m3_c_cdns_713557510325_, (5.55,1.67)))
nor.add(gdstk.Reference(c_m2m3_c_cdns_713557510325__, (0.77,6.47)))
nor.add(gdstk.Reference(c_m2m3_c_cdns_713557510325__, (0.77,4.895)))
nor.add(gdstk.Reference(c_m2m3_c_cdns_713557510325__, (0.77,1.67)))
nor.add(gdstk.Reference(c_m1m2_c_cdns_713557510325_, (5.55,6.47)))
nor.add(gdstk.Reference(c_m1m2_c_cdns_713557510325_, (5.55,4.895)))
nor.add(gdstk.Reference(c_m1m2_c_cdns_713557510325_, (5.55,1.67)))
nor.add(gdstk.Reference(c_m1m2_c_cdns_713557510325__, (0.77,6.47)))
nor.add(gdstk.Reference(c_m1m2_c_cdns_713557510325__, (0.77,4.895)))
nor.add(gdstk.Reference(c_m1m2_c_cdns_713557510325__, (0.77,1.67)))
nor.add(gdstk.Reference(c_m2m3_c_cdns_713557510325___, (4.88,6.47)))
nor.add(gdstk.Reference(c_m2m3_c_cdns_713557510325___, (1.44,6.47)))
nor.add(gdstk.Reference(c_m2m3_c_cdns_713557510325___, (1.87,6.47)))
nor.add(gdstk.Reference(c_m2m3_c_cdns_713557510325___, (1.44,4.895)))
nor.add(gdstk.Reference(c_m2m3_c_cdns_713557510325___, (2.3,6.47)))
nor.add(gdstk.Reference(c_m2m3_c_cdns_713557510325___, (1.87,4.895)))
nor.add(gdstk.Reference(c_m2m3_c_cdns_713557510325___, (3.16,6.47)))
nor.add(gdstk.Reference(c_m2m3_c_cdns_713557510325___, (4.45,4.895)))
nor.add(gdstk.Reference(c_m2m3_c_cdns_713557510325___, (4.02,6.47)))
nor.add(gdstk.Reference(c_m2m3_c_cdns_713557510325___, (4.88,4.895)))
nor.add(gdstk.Reference(c_m2m3_c_cdns_713557510325___, (4.45,6.47)))
nor.add(gdstk.Reference(c_m2m3_c_cdns_713557510325___, (3.16,1.67)))
nor.add(gdstk.Reference(c_m2m3_c_cdns_713557510325___, (4.02,1.67)))
nor.add(gdstk.Reference(c_m2m3_c_cdns_713557510325___, (1.44,1.67)))
nor.add(gdstk.Reference(c_m2m3_c_cdns_713557510325___, (4.45,1.67)))
nor.add(gdstk.Reference(c_m2m3_c_cdns_713557510325___, (1.87,1.67)))
nor.add(gdstk.Reference(c_m2m3_c_cdns_713557510325___, (4.88,1.67)))
nor.add(gdstk.Reference(c_m2m3_c_cdns_713557510325___, (2.3,1.67)))
nor.add(gdstk.Label('A', (0.14,0.795), layer=69, texttype=5))
nor.add(gdstk.Label('A', (0.14,7.505), layer=69, texttype=5))
nor.add(gdstk.Label('B', (0.92,3.245), layer=70, texttype=5))
nor.add(gdstk.Label('Out', (5.385,3.245), layer=70, texttype=5))
nor.add(gdstk.Label('VSS', (1.03,1.67), layer=70, texttype=5))
nor.add(gdstk.Label('VDD', (1.03,6.47), layer=70, texttype=5))

m2m3_c_cdns_713557510328 = lib.new_cell('M2M3_C_CDNS_713557510328')
R(m2m3_c_cdns_713557510328, met2, [(-1.005,-0.165,0.165,0.165)])
A(m2m3_c_cdns_713557510328, via2, -0.92, -0.1, 0.2, 0.2, 3, 1, 0.4, 0)
R(m2m3_c_cdns_713557510328, met3, [(-0.985,-0.165,0.165,0.165)])

m2m3_c_cdns_713557510321 = lib.new_cell('M2M3_C_CDNS_7135575103215')
R(m2m3_c_cdns_713557510321, met2, [(-0.165,-0.985,0.165,0.185)])
A(m2m3_c_cdns_713557510321, via2, -0.1, -0.9, 0.2, 0.2, 1, 3, 0, 0.4)
R(m2m3_c_cdns_713557510321, met3, [(-0.165,-0.965,0.165,0.165)])

c_m2m3_c_cdns_713557510324__ = lib.new_cell('M2M3_C_CDNS_7135575103242')
R(c_m2m3_c_cdns_713557510324__, met2, [(-0.165,-0.185,0.165,0.985)])
A(c_m2m3_c_cdns_713557510324__, via2, -0.1, -0.1, 0.2, 0.2, 1, 3, 0, 0.4)
R(c_m2m3_c_cdns_713557510324__, met3, [(-0.165,-0.165,0.165,0.965)])

m3m4_c_cdns_713557510324 = lib.new_cell('M3M4_C_CDNS_7135575103243')
R(m3m4_c_cdns_713557510324, met3, [(-0.5,-0.425,0.5,0.425)])
R(m3m4_c_cdns_713557510324, via3, [(-0.3,-0.3,-0.1,-0.1), (0.1,-0.3,0.3,-0.1), (-0.3,0.1,-0.1,0.3), (0.1,0.1,0.3,0.3)])
R(m3m4_c_cdns_713557510324, met4, [(-0.5,-0.425,0.5,0.425)])

srlatch_nor = lib.new_cell('SRlatch_nor')
R(srlatch_nor, met2_pin, [(6.47,0.02,6.8,0.35), (6.47,3.305,6.8,3.635), (6.47,7.46,6.8,7.79), (6.47,12.675,6.8,13.005)])
R(srlatch_nor, met3_pin, [(0.055,3.305,0.385,3.635), (0.055,15.18,0.385,15.51)])
R(srlatch_nor, met4_pin, [(1.295,15.085,2.295,16.085), (5.295,15.085,6.295,16.085)])
srlatch_nor.add(gdstk.FlexPath([(4.58,3.47),(6.8,3.47)], 0.33, ends="flush", simple_path=True, layer=69, datatype=20))  # met2
srlatch_nor.add(gdstk.FlexPath([(4.58,12.84),(6.8,12.84)], 0.33, ends="flush", simple_path=True, layer=69, datatype=20))  # met2
srlatch_nor.add(gdstk.FlexPath([(0.165,0),(0.165,13.005)], 0.33, ends="flush", simple_path=True, layer=69, datatype=20))  # met2
srlatch_nor.add(gdstk.FlexPath([(6.635,0.02),(6.635,3.635)], 0.33, ends="flush", simple_path=True, layer=69, datatype=20))  # met2
srlatch_nor.add(gdstk.FlexPath([(6.635,13.005),(6.635,7.46)], 0.33, ends="flush", simple_path=True, layer=69, datatype=20))  # met2
srlatch_nor.add(gdstk.FlexPath([(0,0.185),(6.8,0.185)], 0.33, ends="flush", simple_path=True, layer=70, datatype=20))  # met3
srlatch_nor.add(gdstk.FlexPath([(5.85,3.47),(6.8,3.47)], 0.33, ends="flush", simple_path=True, layer=70, datatype=20))  # met3
srlatch_nor.add(gdstk.FlexPath([(1.715,12.84),(0,12.84)], 0.33, ends="flush", simple_path=True, layer=70, datatype=20))  # met3
srlatch_nor.add(gdstk.FlexPath([(6.8,7.625),(0.605,7.625)], 0.33, ends="flush", simple_path=True, layer=70, datatype=20))  # met3
srlatch_nor.add(gdstk.FlexPath([(1.715,3.47),(0,3.47)], 0.33, ends="flush", simple_path=True, layer=70, datatype=20))  # met3
srlatch_nor.add(gdstk.FlexPath([(5.85,12.84),(6.8,12.84)], 0.33, ends="flush", simple_path=True, layer=70, datatype=20))  # met3
srlatch_nor.add(gdstk.FlexPath([(1.715,15.345),(0.055,15.345)], 0.33, ends="flush", simple_path=True, layer=70, datatype=20))  # met3
srlatch_nor.add(gdstk.FlexPath([(1.795,16.085),(1.795,0.225)], 1, ends="flush", simple_path=True, layer=71, datatype=20))  # met4
srlatch_nor.add(gdstk.FlexPath([(5.795,16.085),(5.795,0.225)], 1, ends="flush", simple_path=True, layer=71, datatype=20))  # met4
srlatch_nor.add(gdstk.Reference(nor, (0.63,16.085), x_reflection=True))
srlatch_nor.add(gdstk.Reference(nor, (0.63,0.225)))
srlatch_nor.add(gdstk.Reference(m2m3_c_cdns_713557510328, (6.635,0.185), x_reflection=True))
srlatch_nor.add(gdstk.Reference(m2m3_c_cdns_713557510328, (6.635,3.47), x_reflection=True))
srlatch_nor.add(gdstk.Reference(m2m3_c_cdns_713557510328, (6.635,12.84)))
srlatch_nor.add(gdstk.Reference(m2m3_c_cdns_713557510321, (0.165,0.185), x_reflection=True))
srlatch_nor.add(gdstk.Reference(m2m3_c_cdns_713557510321, (0.165,12.84)))
srlatch_nor.add(gdstk.Reference(c_m2m3_c_cdns_713557510324__, (6.635,7.625)))
srlatch_nor.add(gdstk.Reference(m3m4_c_cdns_713557510324, (5.795,11.19)))
srlatch_nor.add(gdstk.Reference(m3m4_c_cdns_713557510324, (5.795,9.615)))
srlatch_nor.add(gdstk.Reference(m3m4_c_cdns_713557510324, (5.795,5.12)))
srlatch_nor.add(gdstk.Reference(m3m4_c_cdns_713557510324, (5.795,6.695)))
srlatch_nor.add(gdstk.Reference(m3m4_c_cdns_713557510324, (1.795,1.895)))
srlatch_nor.add(gdstk.Reference(m3m4_c_cdns_713557510324, (1.795,14.415)))
srlatch_nor.add(gdstk.Label('QN', (6.635,3.47), layer=69, texttype=5))
srlatch_nor.add(gdstk.Label('Q', (6.635,12.84), layer=69, texttype=5))
srlatch_nor.add(gdstk.Label('QN', (6.635,0.185), layer=69, texttype=5))
srlatch_nor.add(gdstk.Label('Q', (6.635,7.625), layer=69, texttype=5))
srlatch_nor.add(gdstk.Label('S', (0.22,3.47), layer=70, texttype=5))
srlatch_nor.add(gdstk.Label('R', (0.22,15.345), layer=70, texttype=5))
srlatch_nor.add(gdstk.Label('VDD', (5.795,15.585), layer=71, texttype=5))
srlatch_nor.add(gdstk.Label('VSS', (1.795,15.585), layer=71, texttype=5))

lib.write_gds('SRlatch_nor.gds')
